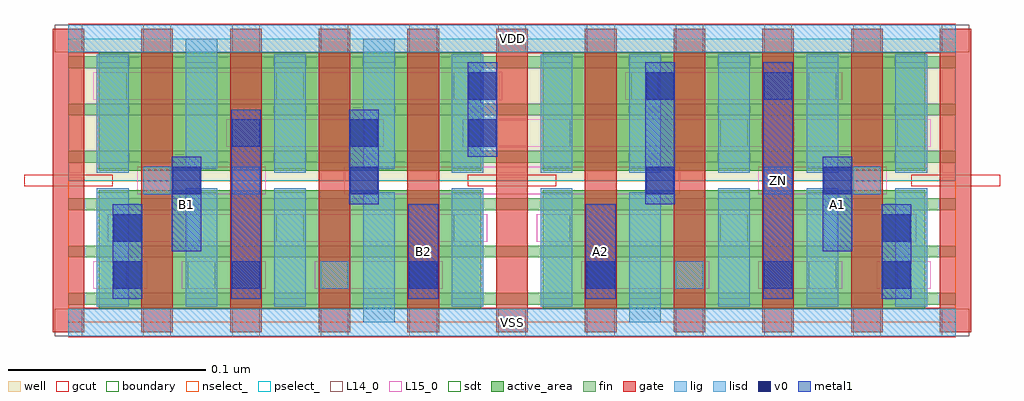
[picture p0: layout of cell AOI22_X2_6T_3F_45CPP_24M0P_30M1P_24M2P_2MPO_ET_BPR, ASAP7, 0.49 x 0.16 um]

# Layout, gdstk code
import gdstk
lib = gdstk.Library(unit=1e-6, precision=2.5e-10)
def R(c, l, rs):  # rectangles x0, y0, x1, y1
    for r in rs: c.add(gdstk.rectangle(r[:2], r[2:], *l))
def A(c, l, x, y, w, h, nx, ny, dx, dy):  # array of equal rectangles
    R(c, l, [(x+i*dx, y+j*dy, x+i*dx+w, y+j*dy+h) for i in range(nx) for j in range(ny)])
well = (1, 0)
fin = (2, 0)
gate = (7, 0)
gcut = (10, 0)
active_area = (11, 0)
nselect_ = (12, 0)
pselect_ = (13, 0)
L14_0 = (14, 0)
L15_0 = (15, 0)
lig = (16, 0)
lisd = (17, 0)
v0 = (18, 0)
metal1 = (19, 0)
sdt = (88, 0)
boundary = (100, 0)

aoi22_x2_6t_3f_45cpp_24m = lib.new_cell('AOI22_X2_6T_3F_45CPP_24M0P_30M1P_24M2P_2MPO_ET_BPR')
R(aoi22_x2_6t_3f_45cpp_24m, well, [(0,0.072,0.45,0.144)])
A(aoi22_x2_6t_3f_45cpp_24m, fin, 0, 0.009, 0.45, 0.006, 1, 6, 0, 0.024)
A(aoi22_x2_6t_3f_45cpp_24m, gate, -0.008, -0.005, 0.016, 0.154, 11, 1, 0.045, 0)
A(aoi22_x2_6t_3f_45cpp_24m, gcut, -0.0225, 0.069, 0.045, 0.006, 3, 1, 0.225, 0)
R(aoi22_x2_6t_3f_45cpp_24m, gcut, [(0,-0.0075,0.45,0.0075), (0,0.1365,0.45,0.1515)])
R(aoi22_x2_6t_3f_45cpp_24m, active_area, [(0.0155,0.007,0.1195,0.067), (0.1055,0.007,0.2095,0.067), (0.2405,0.007,0.3445,0.067), (0.3305,0.007,0.4345,0.067), (0.0155,0.077,0.1195,0.137), (0.1055,0.077,0.2095,0.137), (0.2405,0.077,0.3445,0.137), (0.3305,0.077,0.4345,0.137)])
R(aoi22_x2_6t_3f_45cpp_24m, nselect_, [(0,0,0.45,0.072)])
R(aoi22_x2_6t_3f_45cpp_24m, pselect_, [(0,0.072,0.45,0.144)])
A(aoi22_x2_6t_3f_45cpp_24m, L14_0, -0.007, -0.007, 0.014, 0.014, 11, 2, 0.045, 0.144)
A(aoi22_x2_6t_3f_45cpp_24m, L14_0, 0.2405, 0.089, 0.014, 0.014, 3, 1, 0.09, 0)
A(aoi22_x2_6t_3f_45cpp_24m, L14_0, 0.0155, 0.113, 0.014, 0.014, 5, 1, 0.09, 0)
R(aoi22_x2_6t_3f_45cpp_24m, L14_0, [(0.0155,0.017,0.0295,0.031), (0.0605,0.017,0.0745,0.031), (0.128,0.017,0.142,0.031), (0.173,0.017,0.187,0.031), (0.263,0.017,0.277,0.031), (0.308,0.017,0.322,0.031), (0.3755,0.017,0.3895,0.031), (0.4205,0.017,0.4345,0.031), (0.1055,0.041,0.1195,0.055), (0.1955,0.041,0.2095,0.055), (0.2405,0.041,0.2545,0.055), (0.3305,0.041,0.3445,0.055), (0.038,0.065,0.052,0.079), (0.083,0.065,0.097,0.079), (0.353,0.065,0.367,0.079), (0.398,0.065,0.412,0.079)])
R(aoi22_x2_6t_3f_45cpp_24m, L15_0, [(0,-0.007,0.45,0.007), (0.0125,0.017,0.04,0.031), (0.0575,0.017,0.1,0.031), (0.125,0.017,0.19,0.031), (0.26,0.017,0.325,0.031), (0.35,0.017,0.3925,0.031), (0.41,0.017,0.4375,0.031), (0.02,0.041,0.2125,0.055), (0.2375,0.041,0.43,0.055), (0.035,0.065,0.1,0.079), (0.14,0.065,0.31,0.079), (0.35,0.065,0.415,0.079), (0.08,0.089,0.16,0.103), (0.2,0.089,0.4375,0.103), (0.0125,0.113,0.22,0.127), (0.2825,0.113,0.3925,0.127), (0,0.137,0.45,0.151)])
R(aoi22_x2_6t_3f_45cpp_24m, lig, [(0,-0.007,0.45,0.007), (0.128,0.017,0.142,0.031), (0.173,0.017,0.187,0.031), (0.263,0.017,0.277,0.031), (0.308,0.017,0.322,0.031), (0.038,0.065,0.052,0.079), (0.083,0.065,0.097,0.079), (0.353,0.065,0.367,0.079), (0.398,0.065,0.412,0.079), (0,0.137,0.45,0.151)])
A(aoi22_x2_6t_3f_45cpp_24m, lisd, 0.0145, 0.008, 0.016, 0.06, 3, 1, 0.045, 0)
A(aoi22_x2_6t_3f_45cpp_24m, lisd, 0.3295, 0.008, 0.016, 0.06, 3, 1, 0.045, 0)
A(aoi22_x2_6t_3f_45cpp_24m, lisd, 0.0145, 0.076, 0.016, 0.06, 3, 1, 0.09, 0)
A(aoi22_x2_6t_3f_45cpp_24m, lisd, 0.2395, 0.076, 0.016, 0.06, 5, 1, 0.045, 0)
R(aoi22_x2_6t_3f_45cpp_24m, lisd, [(0.1495,0,0.1655,0.066), (0.2845,0,0.3005,0.066), (0.1945,0.008,0.2105,0.068), (0.2395,0.008,0.2555,0.068), (0.0595,0.078,0.0755,0.144), (0.1495,0.078,0.1655,0.144)])
A(aoi22_x2_6t_3f_45cpp_24m, v0, 0.083, 0.017, 0.014, 0.014, 4, 1, 0.09, 0)
A(aoi22_x2_6t_3f_45cpp_24m, v0, 0.083, 0.089, 0.014, 0.014, 3, 1, 0.06, 0)
R(aoi22_x2_6t_3f_45cpp_24m, v0, [(0.023,0.017,0.037,0.031), (0.413,0.017,0.427,0.031), (0.023,0.041,0.037,0.055), (0.413,0.041,0.427,0.055), (0.053,0.065,0.067,0.079), (0.143,0.065,0.157,0.079), (0.293,0.065,0.307,0.079), (0.383,0.065,0.397,0.079), (0.203,0.113,0.217,0.127), (0.293,0.113,0.307,0.127), (0.353,0.113,0.367,0.127)])
R(aoi22_x2_6t_3f_45cpp_24m, metal1, [(0.0225,0.012,0.0375,0.06), (0.0825,0.012,0.0975,0.108), (0.1725,0.012,0.1875,0.06), (0.2625,0.012,0.2775,0.06), (0.3525,0.012,0.3675,0.132), (0.4125,0.012,0.4275,0.06), (0.0525,0.036,0.0675,0.084), (0.3825,0.036,0.3975,0.084), (0.1425,0.06,0.1575,0.108), (0.2925,0.06,0.3075,0.132), (0.2025,0.084,0.2175,0.132)])
A(aoi22_x2_6t_3f_45cpp_24m, sdt, 0.0145, 0.012, 0.016, 0.054, 10, 2, 0.045, 0.066)
R(aoi22_x2_6t_3f_45cpp_24m, boundary, [(0,0,0.45,0.144)])
aoi22_x2_6t_3f_45cpp_24m.add(gdstk.Label('A1', (0.39,0.06), layer=19, texttype=251))
aoi22_x2_6t_3f_45cpp_24m.add(gdstk.Label('A2', (0.27,0.036), layer=19, texttype=251))
aoi22_x2_6t_3f_45cpp_24m.add(gdstk.Label('ZN', (0.36,0.072), layer=19, texttype=251))
aoi22_x2_6t_3f_45cpp_24m.add(gdstk.Label('B1', (0.06,0.06), layer=19, texttype=251))
aoi22_x2_6t_3f_45cpp_24m.add(gdstk.Label('B2', (0.18,0.036), layer=19, texttype=251))
aoi22_x2_6t_3f_45cpp_24m.add(gdstk.Label('VDD', (0.225,0.144), layer=15, texttype=251))
aoi22_x2_6t_3f_45cpp_24m.add(gdstk.Label('VSS', (0.225,0), layer=15, texttype=251))
aoi22_x2_6t_3f_45cpp_24m.add(gdstk.Label('VDD', (0.225,0.144), layer=1, texttype=251))
aoi22_x2_6t_3f_45cpp_24m.add(gdstk.Label('VSS', (0.225,0), layer=3, texttype=251))

lib.write_gds('AOI22_X2_6T_3F_45CPP_24M0P_30M1P_24M2P_2MPO_ET_BPR.gds')
